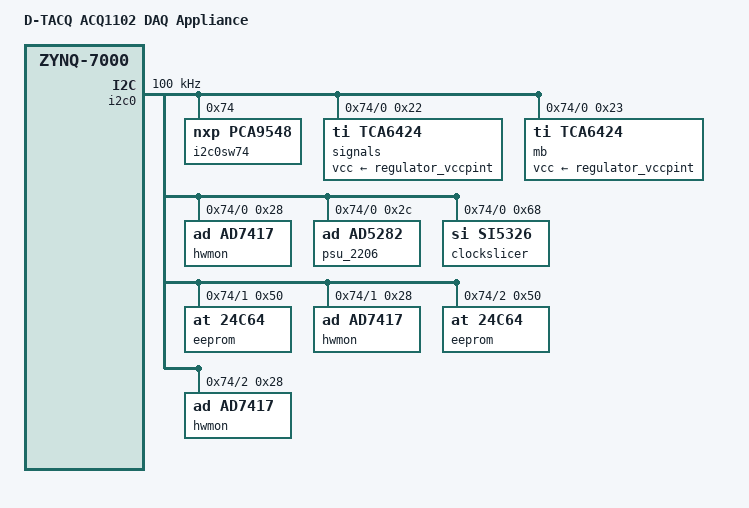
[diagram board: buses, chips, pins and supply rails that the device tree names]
/*
 * Copyright (C) 2013-2019 D-TACQ Solutions Ltd - http://www.d-tacq.com/
 *
 * This program is free software; you can redistribute it and/or modify
 * it under the terms of the GNU General Public License version 2 as
 * published by the Free Software Foundation.
 */

/dts-v1/;

/ {
	model = "D-TACQ ACQ1102 DAQ Appliance";
	compatible = "xlnx,zynq-zed", "xlnx,zynq-7000";

	chosen {
		bootargs = "";
		stdout-path = "serial0:115200n8";
		build="__DATE__";	
		descr="device tree for ACQ1102, TWO SITES supports MGTA, MGTB";
		model="acq1102";
		compatible_model="acq1102";		
	};
};	



#include "acq400_common.dtsi"


&amba {
	sitec: acq2006sc@40000000 {
		reg = <0x40000000 0x10000>;
		compatible = "D-TACQ,acq2006sc";
		site = <0>;
		interrupts = <0x0 31 0x4>, <0x0 32 0x4>;
		interrupt-parent = <0x1>;
	};
	site1: acq400fmc@40010000 {
		compatible = "D-TACQ,acq400fmc";
		reg = <0x40010000 0x10000>;
		interrupts = <0x0 59 0x4>;
		interrupt-parent = <&intc>;
		site = <1>;
	};
	site2: acq400fmc@40020000 {
		compatible = "D-TACQ,acq400fmc";
		reg = <0x40020000 0x10000>;
		interrupts = <0x0 57 0x4>;
		interrupt-parent = <0x1>;
		site = <2>;
	};
	site3: acq400fmc@40030000 {
		compatible = "D-TACQ,acq400fmc";
		reg = <0x40030000 0x10000>;
		interrupts = <0x0 55 0x4>;
		interrupt-parent = <0x1>;
		site = <3>;
	};
	site4: acq400fmc@40040000 {
		compatible = "D-TACQ,acq400fmc";
		reg = <0x40040000 0x10000>;
		interrupts = <0x0 53 0x4>;
		interrupt-parent = <0x1>;
		site = <4>;
	};
	commsB: mgt400@400c0000 {
		status = "disabled";
		compatible = "D-TACQ,mgt400";
		reg = <0x400c0000 0x10000>;
		interrupts = <0x0 58 0x4>;
		interrupt-parent = <0x1>;
		site = <12>;
		sn = <1>;
	};
	commsA: mgt400@400d0000 {
		status = "disabled";
		compatible = "D-TACQ,mgt400";
		reg = <0x400d0000 0x10000>;
		interrupts = <0x0 56 0x4>;
		interrupt-parent = <0x1>;
		site = <13>;
		sn = <0>;
	};
	/* dsp1, dsp2 : see acq400_common.dtsi */
	wr: wr@80080000 {
		status = "disabled";   /* @@todo : how does WR figure this? */
	};
	/* axiA, axiB : see acq400_common.dtsi */
};

&i2c0 {
	status = "okay";
	clock-frequency = <100000>;

	i2c-reset = <&gpio0 46 0>;
	i2c0sw74: i2cswitch@74 {
		compatible = "nxp,pca9548";
		#address-cells = <1>;
		#size-cells = <0>;
		reg = <0x74>;

		mb_i2c: i2c@0 {
			#address-cells = <1>;
			#size-cells = <0>;
			reg = <0>;

			signals: gpio@22 {
				compatible="ti,tca6424";
				vcc-supply = <&regulator_vccpint>;
				interrupts = <0 0>;
				reg=<0x22>;
			};
			mb: gpio@23 {
				compatible="ti,tca6424";
				vcc-supply = <&regulator_vccpint>;
				interrupts = <0 0>;
				reg=<0x23>;
			};
			hwmon@28 {
				compatible="ad,ad7417";
				reg=<0x28>;
			};
			psu_2206: ad5282@2c {
				status = "ok";
				compatible = "ad,ad5282";
				reg = <0x2c>;
			};
			clockslicer: si5326@68 {
				compatible="si,si5326";
				reg=<0x68>;
			};
		};

		elf1: i2c@1 {
			#address-cells = <1>;
			#size-cells = <0>;
			reg = <0x1>;

			eeprom@50 {
				compatible = "at,24c64";
				reg = <0x50>;
			};
			hwmon@28 {
				compatible="ad,ad7417";
				reg=<0x28>;
			};
		};
		elf2: i2c@2 {
			#address-cells = <1>;
			#size-cells = <0>;
			reg = <0x2>;

			eeprom@50 {
				compatible = "at,24c64";
				reg = <0x50>;
			};
			hwmon@28 {
				compatible="ad,ad7417";
				reg=<0x28>;
			};
		};
		sfp1: i2c@3 {
			#address-cells = <1>;
			#size-cells = <0>;
			reg = <0x3>;
			eeprom@50 {
				compatible = "at,spd";
				reg = <0x50>;
				read-only;
				status="disabled";
			};
			ddm@51 {
				compatible = "at,spd";
				reg = <0x51>;
				read-only;
				status="disabled";
			};
		};
		sfp2: i2c@4 {
			#address-cells = <1>;
			#size-cells = <0>;
			reg = <0x4>;
			eeprom@50 {
				compatible = "at,spd";
				reg = <0x50>;
				read-only;
				status="disabled";
			};
			ddm@51 {
				compatible = "at,spd";
				reg = <0x51>;
				read-only;
				status="disabled";
			};
			si570_clk: mgtclk@55 {
				compatible = "silabs,si570";
				reg = <0x55>;
				temperature-stability = <7>;
				factory-fout = <200000000>;
				clock-output-names = "si570_mgt48x";
				status="disabled";
			};
		};
	};
};
